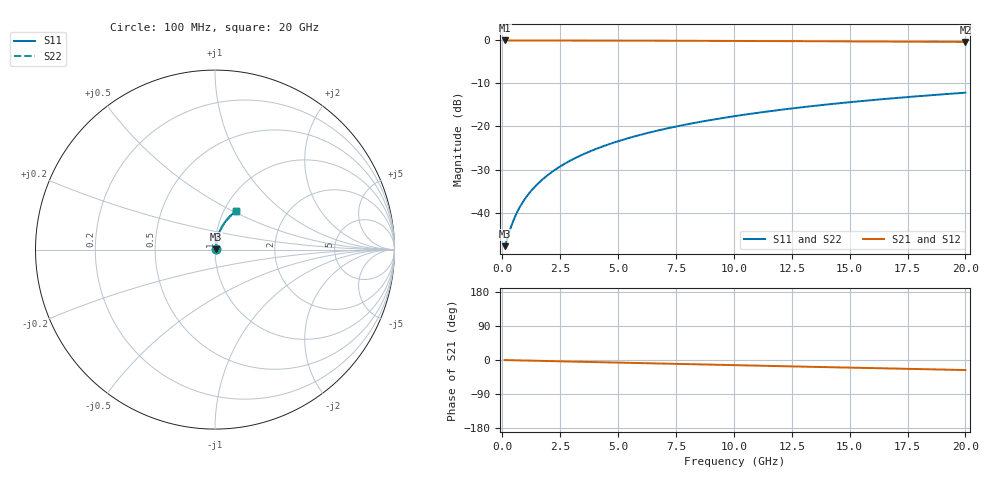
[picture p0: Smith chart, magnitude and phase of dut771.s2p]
! Touchstone file exported from HFSS 2026.1.0
!  File:  C:/ffzhzh/LocalFiles/Ansys_Project_Files/temp_train_TMRDL_771_1783155605_18472.aedt
!  Generated:  05:01:16 PM Jul  4, 2026
!  Design:  TMRDL
!  Project:  temp_train_TMRDL_771_1783155605_18472
! Variables:
!  h_bsmrdl = 2um
!  h_ox = 20um
!  h_rdl = 5um
!  h_sub = 80um
!  h_tmrdl = 2.71um
!  h_tsv = 80um
!  h_via = 3um
!  l_bsmrdl = 300um
!  l_sub = 783.44um
!  l_tmrdl = 383.44um
!  m_sub = 200um
!  pitch = 29.26um
!  r_tsv = 6um
!  s_tmrdl = 10um
!  w_bsmrdl = 18um
!  w_sub = 500um
!  w_tmrdl = 13.86um
!  x_tsv_center1 = 390.37um
!  x_tsv_center2 = 708.37um
!  x_tsv_center3 = 1105.67um
!  x_tsv_center4 = 1423.67um
!  x_tsv_center5 = 1820.97um
!  x_tsv_center6 = 2138.97um
# GHz S MA R 50.000000
! Terminal data exported
! Port[1] = TM_RDL1_1_T1
! Port[2] = TM_RDL1_1_T2
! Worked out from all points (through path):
!   200 points, 100 MHz to 20 GHz, reference 50 ohm
!   highest |S21| = -0.03 dB at 100 MHz (marker M1); lowest = -0.4 dB at 20 GHz (marker M2)
!   group delay of S21, straight-line fit = 3.68 ps
!   lowest |S11| = -47.8 dB at 100 MHz (marker M3), VSWR 1.01, Z = 50.4 + j0.15 ohm
!   |S11| at or under -10 dB: start of sweep to end of sweep
!   |S22| runs from -47.8 to -12.2 dB; largest |S21 - S12| = 4e-15
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0.1  0.004072 21.5  0.9962 -0.1  0.9962 -0.1  0.004072 21.5
! Gamma 0 0 0 0
! Port Impedance 50 0 50 0
0.4  0.00711 54.9  0.9959 -0.6  0.9959 -0.6  0.00711 54.9
0.5  0.008344 59.6  0.9958 -0.7  0.9958 -0.7  0.008344 59.6
0.6  0.0096 63.0  0.9957 -0.9  0.9957 -0.9  0.0096 63.0
0.7  0.01087 65.6  0.9956 -1.0  0.9956 -1.0  0.01087 65.6
0.9  0.01341 69.4  0.9955 -1.3  0.9955 -1.3  0.01341 69.4
1.2  0.01727 72.9  0.9953 -1.7  0.9953 -1.7  0.01727 72.9
1.4  0.01986 74.4  0.9951 -2.0  0.9951 -2.0  0.01986 74.4
1.7  0.02377 76.1  0.995 -2.4  0.995 -2.4  0.02377 76.1
2.2  0.03034 77.7  0.9947 -3.0  0.9947 -3.0  0.03034 77.7
2.8  0.03827 78.6  0.9943 -3.9  0.9943 -3.9  0.03827 78.6
3.5  0.04753 78.9  0.9937 -4.8  0.9937 -4.8  0.04753 78.9
4.2  0.05678 78.8  0.993 -5.8  0.993 -5.8  0.05678 78.8
5  0.06731 78.3  0.9921 -6.9  0.9921 -6.9  0.06731 78.3
5.9  0.07907 77.6  0.991 -8.1  0.991 -8.1  0.07907 77.6
6.8  0.09074 76.7  0.9896 -9.3  0.9896 -9.3  0.09074 76.7
8.3  0.1099 75.1  0.9871 -11.3  0.9871 -11.3  0.1099 75.1
10.1  0.1325 73.0  0.9836 -13.7  0.9836 -13.7  0.1325 73.0
11.7  0.1521 71.1  0.9802 -15.8  0.9802 -15.8  0.1521 71.1
13.4  0.1725 69.0  0.9762 -18.1  0.9762 -18.1  0.1725 69.0
16.7  0.2105 65.0  0.9676 -22.3  0.9676 -22.3  0.2105 65.0
20  0.2465 61.0  0.9582 -26.5  0.9582 -26.5  0.2465 61.0
